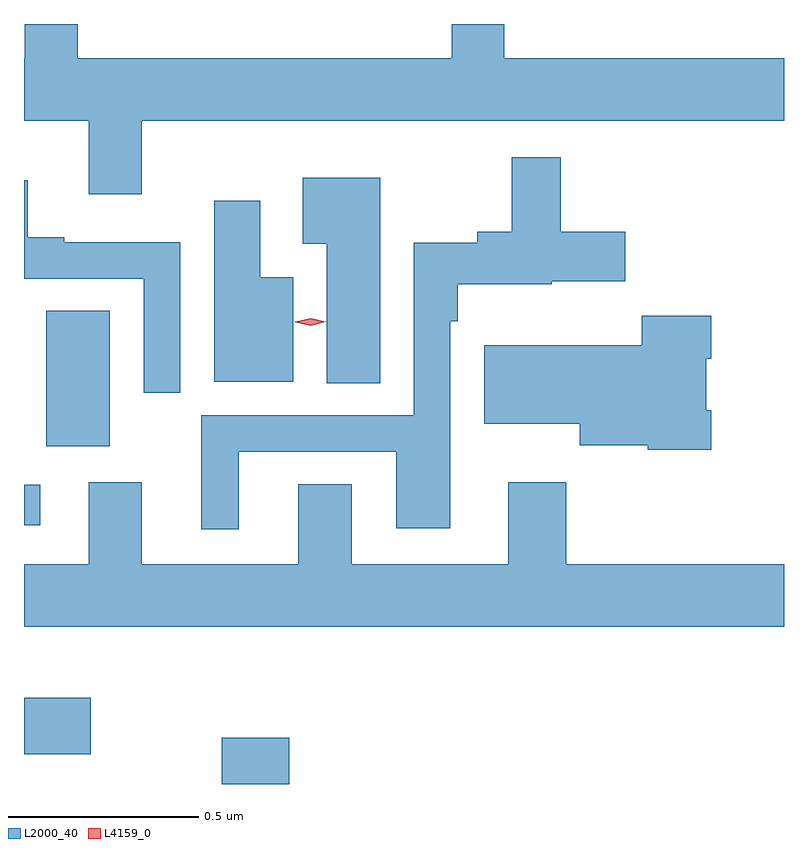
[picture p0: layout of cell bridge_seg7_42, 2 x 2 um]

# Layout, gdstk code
import gdstk
lib = gdstk.Library(unit=1e-6, precision=1e-09)
def R(c, l, rs):  # rectangles x0, y0, x1, y1
    for r in rs: c.add(gdstk.rectangle(r[:2], r[2:], *l))
def P(c, l, *ps):  # polygons
    for p in ps: c.add(gdstk.Polygon(p, *l))
L2000_40 = (2000, 40)
L4159_0 = (4159, 0)

bridge_seg7_42 = lib.new_cell('bridge_seg7_42')
R(bridge_seg7_42, L2000_40, [(890.167,1042.826,890.345,1042.948), (889.647,1042.904,889.822,1043.053), (889.647,1043.507,889.69,1043.613), (889.706,1043.715,889.873,1044.071)])
P(bridge_seg7_42, L2000_40, [(889.957,1044.572),(891.647,1044.572),(891.647,1044.736),(890.911,1044.736),(890.911,1044.826),(890.772,1044.826),(890.772,1044.736),(889.789,1044.736),(889.789,1044.826),(889.649,1044.826),(889.649,1044.736),(889.647,1044.736),(889.647,1044.572),(889.817,1044.572),(889.817,1044.378),(889.957,1044.378)],
  [(890.212,1043.7),(890.627,1043.7),(890.627,1043.499),(890.769,1043.499),(890.769,1044.044),(890.789,1044.044),(890.789,1044.141),(891.036,1044.141),(891.036,1044.149),(891.229,1044.149),(891.229,1044.279),(891.059,1044.279),(891.059,1044.475),(890.931,1044.475),(890.931,1044.279),(890.84,1044.279),(890.84,1044.25),(890.673,1044.25),(890.673,1043.796),(890.113,1043.796),(890.113,1043.496),(890.212,1043.496)],
  [(890.584,1044.421),(890.381,1044.421),(890.381,1044.248),(890.444,1044.248),(890.444,1043.881),(890.584,1043.881)],
  [(890.058,1044.252),(889.753,1044.252),(889.753,1044.265),(889.657,1044.265),(889.657,1044.415),(889.647,1044.415),(889.647,1044.156),(889.962,1044.156),(889.962,1043.856),(890.058,1043.856)],
  [(890.356,1044.16),(890.269,1044.16),(890.269,1044.361),(890.147,1044.361),(890.147,1043.885),(890.356,1043.885)],
  [(891.455,1043.809),(891.442,1043.809),(891.442,1043.945),(891.455,1043.945),(891.455,1044.058),(891.272,1044.058),(891.272,1043.98),(890.858,1043.98),(890.858,1043.774),(891.11,1043.774),(891.11,1043.717),(891.288,1043.717),(891.288,1043.705),(891.455,1043.705)],
  [(890.369,1043.615),(890.369,1043.404),(889.957,1043.404),(889.957,1043.62),(889.817,1043.62),(889.817,1043.404),(889.647,1043.404),(889.647,1043.24),(891.647,1043.24),(891.647,1043.404),(891.074,1043.404),(891.074,1043.62),(890.921,1043.62),(890.921,1043.404),(890.509,1043.404),(890.509,1043.615)])
P(bridge_seg7_42, L4159_0, [(890.401,1044.032),(890.361,1044.041),(890.36,1044.042),(890.361,1044.042),(890.401,1044.052),(890.441,1044.043),(890.442,1044.043),(890.441,1044.043)])

lib.write_gds('bridge_seg7_42.gds')
